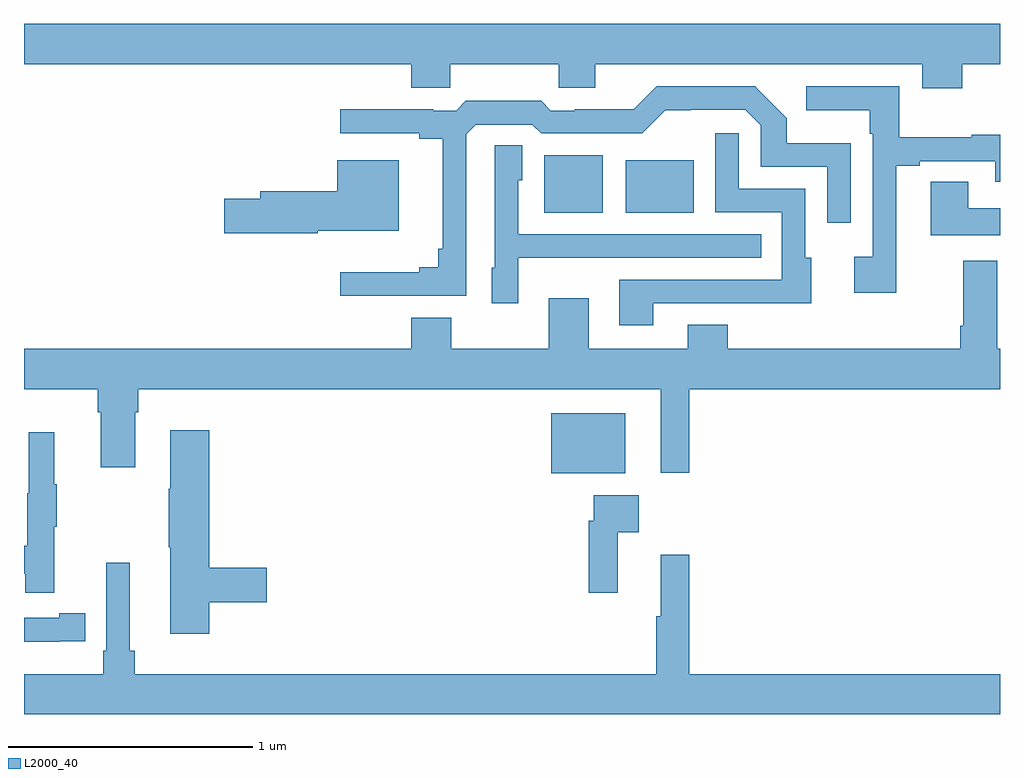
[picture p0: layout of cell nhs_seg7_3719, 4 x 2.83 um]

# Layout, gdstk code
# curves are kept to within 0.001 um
import gdstk
lib = gdstk.Library(unit=1e-6, precision=1e-09)
def R(c, l, rs):  # rectangles x0, y0, x1, y1
    for r in rs: c.add(gdstk.rectangle(r[:2], r[2:], *l))
def P(c, l, *ps):  # polygons
    for p in ps: c.add(gdstk.Polygon(p, *l))
L2000_40 = (2000, 40)

nhs_seg7_3719 = lib.new_cell('nhs_seg7_3719')
R(nhs_seg7_3719, L2000_40, [(349.16,1045.559,349.465,1045.804), (349.133,1046.627,349.372,1046.863), (349.466,1046.627,349.744,1046.842)])
P(nhs_seg7_3719, L2000_40, [(350.845,1047.236),(351,1047.236),(351,1047.4),(347,1047.4),(347,1047.236),(348.587,1047.236),(348.587,1047.138),(348.747,1047.138),(348.747,1047.236),(349.192,1047.236),(349.192,1047.138),(349.342,1047.138),(349.342,1047.236),(350.681,1047.236),(350.681,1047.137),(350.845,1047.137)],
  [(350.575,1046.82),(350.671,1046.82),(350.671,1046.838),(350.981,1046.838),(350.981,1046.754),(351,1046.754),(351,1046.947),(350.885,1046.947),(350.885,1046.936),(350.587,1046.936),(350.587,1047.144),(350.205,1047.144),(350.205,1047.047),(350.466,1047.047),(350.466,1046.951),(350.478,1046.951),(350.478,1046.446),(350.403,1046.446),(350.403,1046.298),(350.575,1046.298)],
  [(348.813,1046.949),(348.852,1046.988),(349.083,1046.988),(349.119,1046.952),(349.533,1046.952),(349.628,1047.047),(349.956,1047.048),(350.019,1046.985),(350.019,1046.814),(350.292,1046.814),(350.292,1046.586),(350.388,1046.586),(350.388,1046.911),(350.127,1046.911),(350.127,1047.014),(349.996,1047.144),(349.593,1047.144),(349.499,1047.05),(349.258,1047.05),(349.258,1047.045),(349.158,1047.045),(349.119,1047.085),(348.811,1047.085),(348.771,1047.045),(348.677,1047.045),(348.677,1047.05),(348.297,1047.05),(348.297,1046.952),(348.62,1046.952),(348.62,1046.93),(348.716,1046.93),(348.716,1046.479),(348.697,1046.479),(348.697,1046.402),(348.62,1046.402),(348.62,1046.383),(348.297,1046.383),(348.297,1046.286),(348.813,1046.286)],
  [(349.579,1046.256),(350.009,1046.256),(350.009,1046.255),(350.227,1046.255),(350.227,1046.442),(350.202,1046.442),(350.202,1046.724),(349.929,1046.724),(349.929,1046.953),(349.833,1046.953),(349.833,1046.628),(350.106,1046.628),(350.106,1046.352),(349.439,1046.352),(349.439,1046.166),(349.579,1046.166)],
  [(349.026,1046.441),(349.343,1046.441),(349.343,1046.442),(350.021,1046.442),(350.021,1046.538),(349.026,1046.538),(349.026,1046.76),(349.042,1046.76),(349.042,1046.903),(348.93,1046.903),(348.93,1046.4),(348.917,1046.4),(348.917,1046.256),(349.026,1046.256)],
  [(348.204,1046.552),(348.535,1046.552),(348.535,1046.842),(348.284,1046.842),(348.284,1046.714),(347.969,1046.714),(347.969,1046.684),(347.82,1046.684),(347.82,1046.542),(348.204,1046.542)],
  [(351,1046.644),(350.869,1046.644),(350.869,1046.753),(350.717,1046.753),(350.717,1046.534),(351,1046.534)],
  [(349.727,1045.904),(351,1045.904),(351,1046.068),(350.989,1046.068),(350.989,1046.43),(350.849,1046.43),(350.849,1046.164),(350.837,1046.164),(350.837,1046.068),(349.885,1046.068),(349.885,1046.167),(349.721,1046.167),(349.721,1046.068),(349.315,1046.068),(349.315,1046.275),(349.151,1046.275),(349.151,1046.068),(348.751,1046.068),(348.751,1046.197),(348.587,1046.197),(348.587,1046.068),(347,1046.068),(347,1045.904),(347.303,1045.904),(347.303,1045.808),(347.315,1045.808),(347.315,1045.584),(347.455,1045.584),(347.455,1045.808),(347.468,1045.808),(347.468,1045.904),(349.61,1045.904),(349.61,1045.56),(349.727,1045.56)],
  [(347.759,1045.03),(347.995,1045.03),(347.995,1045.172),(347.759,1045.172),(347.759,1045.735),(347.6,1045.735),(347.6,1045.496),(347.593,1045.496),(347.593,1045.255),(347.6,1045.255),(347.6,1044.9),(347.759,1044.9)],
  [(347.123,1045.339),(347.134,1045.339),(347.134,1045.513),(347.123,1045.513),(347.123,1045.726),(347.02,1045.726),(347.02,1045.476),(347.013,1045.476),(347.013,1045.262),(347,1045.262),(347,1045.146),(347.005,1045.146),(347.005,1045.068),(347.123,1045.068)],
  [(349.433,1045.316),(349.519,1045.316),(349.519,1045.468),(349.335,1045.468),(349.335,1045.364),(349.315,1045.364),(349.315,1045.068),(349.433,1045.068)],
  [(351,1044.736),(349.727,1044.736),(349.727,1045.225),(349.61,1045.225),(349.61,1044.972),(349.591,1044.972),(349.591,1044.736),(347.453,1044.736),(347.453,1044.832),(347.434,1044.832),(347.434,1045.192),(347.337,1045.192),(347.337,1044.832),(347.324,1044.832),(347.324,1044.736),(347,1044.736),(347,1044.572),(351,1044.572)],
  [(347.144,1044.87),(347.252,1044.87),(347.252,1044.986),(347.144,1044.986),(347.144,1044.966),(347,1044.966),(347,1044.869),(347.144,1044.869)])

lib.write_gds('nhs_seg7_3719.gds')
